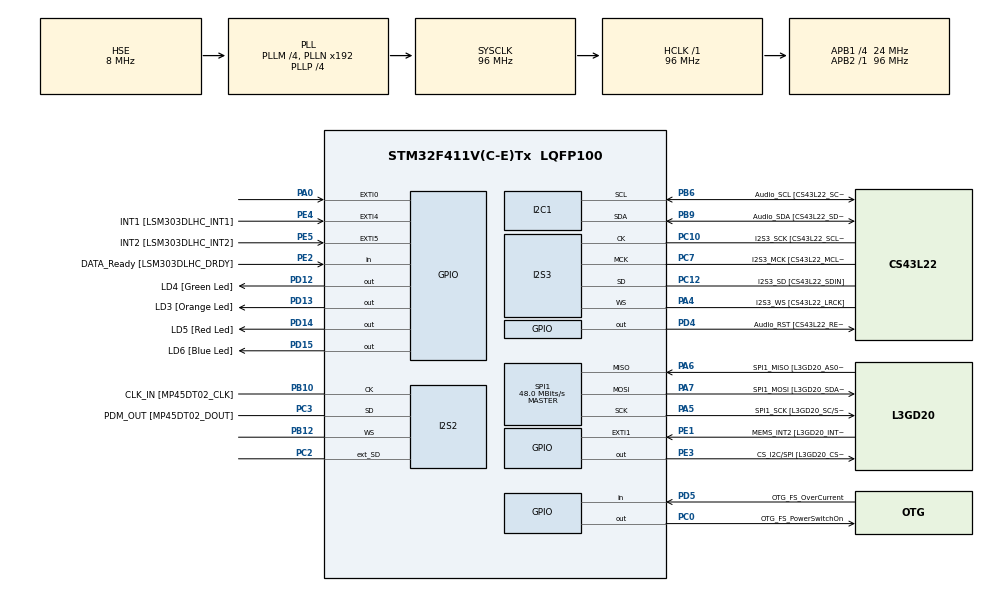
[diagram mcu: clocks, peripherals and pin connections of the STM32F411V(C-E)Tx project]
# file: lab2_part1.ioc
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I2S2.AudioFreq=I2S_AUDIOFREQ_96K
I2S2.ErrorAudioFreq=0.15 %
I2S2.FullDuplexMode=I2S_FULLDUPLEXMODE_ENABLE
I2S2.Instance=SPI$Index
I2S2.RealAudioFreq=96.153 KHz
I2S2.VirtualMode=I2S_MODE_MASTER
I2S3.AudioFreq=I2S_AUDIOFREQ_96K
I2S3.ErrorAudioFreq=-6.99 %
I2S3.FullDuplexMode=I2S_FULLDUPLEXMODE_DISABLE
I2S3.Instance=SPI$Index
I2S3.RealAudioFreq=89.285 KHz
I2S3.VirtualMode=I2S_MODE_MASTER
Mcu.Family=STM32F4
Mcu.Name=STM32F411V(C-E)Tx
Mcu.Package=LQFP100
NVIC.PriorityGroup=NVIC_PRIORITYGROUP_0
PA0-WKUP.GPIO_ModeDefaultEXTI=GPIO_MODE_EVT_RISING
PA0-WKUP.Signal=GPXTI0
PA10.GPIO_Label=OTG_FS_ID
PA10.Signal=USB_OTG_FS_ID
PA11.GPIO_Label=OTG_FS_DM
PA11.Signal=USB_OTG_FS_DM
PA12.GPIO_Label=OTG_FS_DP
PA12.Signal=USB_OTG_FS_DP
PA13.GPIO_Label=SWDIO
PA13.Mode=Serial_Wire
PA13.Signal=SYS_JTMS-SWDIO
PA14.GPIO_Label=SWCLK
PA14.Mode=Serial_Wire
PA14.Signal=SYS_JTCK-SWCLK
PA4.GPIO_Label=I2S3_WS [CS43L22_LRCK]
PA4.GPIO_Mode=GPIO_MODE_AF_PP
PA4.GPIO_PuPd=GPIO_NOPULL
PA4.GPIO_Speed=GPIO_SPEED_FREQ_LOW
PA4.Mode=Half_Duplex_Master
PA4.Signal=I2S3_WS
PA5.GPIO_Label=SPI1_SCK [L3GD20_SC/SPC]
PA5.Mode=Full_Duplex_Master
PA5.Signal=SPI1_SCK
PA6.GPIO_Label=SPI1_MISO [L3GD20_AS0/SDO]
PA6.Mode=Full_Duplex_Master
PA6.Signal=SPI1_MISO
PA7.GPIO_Label=SPI1_MOSI [L3GD20_SDA/SDI/SDO]
PA7.Mode=Full_Duplex_Master
PA7.Signal=SPI1_MOSI
PA9.GPIO_Label=VBUS_FS
PA9.Signal=USB_OTG_FS_VBUS
PB10.GPIO_Label=CLK_IN [MP45DT02_CLK]
PB10.Mode=Full_Duplex_Master
PB10.Signal=I2S2_CK
PB12.Mode=Full_Duplex_Master
PB12.Signal=I2S2_WS
PB3.GPIO_Label=SWO
PB3.Signal=SYS_JTDO-SWO
PB6.GPIO_Label=Audio_SCL [CS43L22_SCL]
PB6.GPIO_Mode=GPIO_MODE_AF_OD
PB6.GPIO_Pu=GPIO_PULLUP
PB6.GPIO_PuPd=GPIO_NOPULL
PB6.GPIO_Speed=GPIO_SPEED_FREQ_LOW
PB6.Mode=I2C
PB6.Signal=I2C1_SCL
PB9.GPIO_Label=Audio_SDA [CS43L22_SDA]
PB9.GPIO_Mode=GPIO_MODE_AF_OD
PB9.GPIO_Pu=GPIO_PULLUP
PB9.GPIO_PuPd=GPIO_NOPULL
PB9.GPIO_Speed=GPIO_SPEED_FREQ_LOW
PB9.Mode=I2C
PB9.Signal=I2C1_SDA
PC0.GPIO_Label=OTG_FS_PowerSwitchOn
PC0.PinState=GPIO_PIN_SET
PC0.Signal=GPIO_Output
PC10.GPIO_Label=I2S3_SCK [CS43L22_SCLK]
PC10.GPIO_Mode=GPIO_MODE_AF_PP
PC10.GPIO_PuPd=GPIO_NOPULL
PC10.GPIO_Speed=GPIO_SPEED_FREQ_LOW
PC10.Mode=Half_Duplex_Master
PC10.Signal=I2S3_CK
PC12.GPIO_Label=I2S3_SD [CS43L22_SDIN]
PC12.GPIO_Mode=GPIO_MODE_AF_PP
PC12.GPIO_PuPd=GPIO_NOPULL
PC12.GPIO_Speed=GPIO_SPEED_FREQ_LOW
PC12.Mode=Half_Duplex_Master
PC12.Signal=I2S3_SD
PC14-OSC32_IN.GPIO_Label=PC14-OSC32_IN
PC14-OSC32_IN.Mode=LSE-External-Oscillator
PC14-OSC32_IN.Signal=RCC_OSC32_IN
PC15-OSC32_OUT.GPIO_Label=PC15-OSC32_OUT
PC15-OSC32_OUT.Mode=LSE-External-Oscillator
PC15-OSC32_OUT.Signal=RCC_OSC32_OUT
PC2.Mode=Full_Duplex_Master
PC2.Signal=I2S2_ext_SD
PC3.GPIO_Label=PDM_OUT [MP45DT02_DOUT]
PC3.Mode=Full_Duplex_Master
PC3.Signal=I2S2_SD
PC7.GPIO_Label=I2S3_MCK [CS43L22_MCLK]
PC7.GPIO_Mode=GPIO_MODE_AF_PP
PC7.GPIO_PuPd=GPIO_NOPULL
PC7.GPIO_Speed=GPIO_SPEED_FREQ_LOW
PC7.Mode=Master_Clock_Activated
PC7.Signal=I2S3_MCK
PD12.GPIO_Label=LD4 [Green Led]
PD12.GPIO_PuPd=GPIO_NOPULL
PD12.GPIO_Speed=GPIO_SPEED_FREQ_LOW
PD12.Signal=GPIO_Output
PD13.GPIO_Label=LD3 [Orange Led]
PD13.GPIO_PuPd=GPIO_NOPULL
PD13.GPIO_Speed=GPIO_SPEED_FREQ_LOW
PD13.Signal=GPIO_Output
PD14.GPIO_Label=LD5 [Red Led]
PD14.GPIO_PuPd=GPIO_NOPULL
PD14.GPIO_Speed=GPIO_SPEED_FREQ_LOW
PD14.Signal=GPIO_Output
PD15.GPIO_Label=LD6 [Blue Led]
PD15.GPIO_PuPd=GPIO_NOPULL
PD15.GPIO_Speed=GPIO_SPEED_FREQ_LOW
PD15.Signal=GPIO_Output
PD4.GPIO_Label=Audio_RST [CS43L22_RESET]
PD4.Signal=GPIO_Output
PD5.GPIO_Label=OTG_FS_OverCurrent
PD5.Signal=GPIO_Input
PE1.GPIO_Label=MEMS_INT2 [L3GD20_INT2]
PE1.GPIO_ModeDefaultEXTI=GPIO_MODE_EVT_RISING
PE1.Signal=GPXTI1
PE2.GPIO_Label=DATA_Ready [LSM303DLHC_DRDY]
PE2.Signal=GPIO_Input
PE3.GPIO_Label=CS_I2C/SPI [L3GD20_CS_I2C/SPI]
PE3.Signal=GPIO_Output
PE4.GPIO_Label=INT1 [LSM303DLHC_INT1]
PE4.GPIO_ModeDefaultEXTI=GPIO_MODE_EVT_RISING
PE4.Signal=GPXTI4
PE5.GPIO_Label=INT2 [LSM303DLHC_INT2]
PE5.GPIO_ModeDefaultEXTI=GPIO_MODE_EVT_RISING
PE5.Signal=GPXTI5
PH0\ -\ OSC_IN.GPIO_Label=PH0-OSC_IN
PH0\ -\ OSC_IN.Mode=HSE-External-Oscillator
PH0\ -\ OSC_IN.Signal=RCC_OSC_IN
PH1\ -\ OSC_OUT.GPIO_Label=PH1-OSC_OUT
PH1\ -\ OSC_OUT.Mode=HSE-External-Oscillator
PH1\ -\ OSC_OUT.Signal=RCC_OSC_OUT
ProjectManager.HeapSize=0x200
ProjectManager.StackSize=0x400
ProjectManager.TargetToolchain=STM32CubeIDE
RCC.48MHZClocksFreq_Value=48000000
RCC.AHBFreq_Value=96000000
RCC.APB1CLKDivider=RCC_HCLK_DIV4
RCC.APB1Freq_Value=24000000
RCC.APB1TimFreq_Value=48000000
RCC.APB2Freq_Value=96000000
RCC.APB2TimFreq_Value=96000000
RCC.CortexFreq_Value=96000000
RCC.HCLKFreq_Value=96000000
RCC.HSE_VALUE=8000000
RCC.HSI_VALUE=16000000
RCC.PLLI2SM=5
RCC.PLLI2SN=200
RCC.PLLM=4
RCC.PLLP=RCC_PLLP_DIV4
RCC.PLLQ=8
RCC.PLLSourceVirtual=RCC_PLLSOURCE_HSE
RCC.SYSCLKFreq_VALUE=96000000
RCC.SYSCLKSource=RCC_SYSCLKSOURCE_PLLCLK
RCC.VCOOutputFreq_Value=384000000
SPI1.BaudRatePrescaler=SPI_BAUDRATEPRESCALER_2
SPI1.CalculateBaudRate=48.0 MBits/s
SPI1.Direction=SPI_DIRECTION_2LINES
SPI1.Mode=SPI_MODE_MASTER
SPI1.VirtualType=VM_MASTER
board=STM32F411E-DISCO

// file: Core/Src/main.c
/* USER CODE BEGIN Header */
/**
  ******************************************************************************
  * @file           : main.c
  * @brief          : Main program body
  ******************************************************************************
  * @attention
  *
  * Copyright (c) 2025 STMicroelectronics.
  * All rights reserved.
  *
  * This software is licensed under terms that can be found in the LICENSE file
  * in the root directory of this software component.
  * If no LICENSE file comes with this software, it is provided AS-IS.
  *
  ******************************************************************************
  */
/* USER CODE END Header */
#include "main.h"

/* USER CODE BEGIN Includes */
#include "filter.h"
/* USER CODE END Includes */

/* USER CODE BEGIN PD */
#define ITM_Port32(n) (*((volatile unsigned long *)(0xE0000000+4*n)))
#define FILTER_MODE 1
/* USER CODE END PD */

I2C_HandleTypeDef hi2c1;

I2S_HandleTypeDef hi2s2;
I2S_HandleTypeDef hi2s3;

SPI_HandleTypeDef hspi1;

void SystemClock_Config(void);
void PeriphCommonClock_Config(void);
static void MX_GPIO_Init(void);
static void MX_I2C1_Init(void);
static void MX_I2S2_Init(void);
static void MX_I2S3_Init(void);
static void MX_SPI1_Init(void);

int main(void)
{

  /* MCU Configuration--------------------------------------------------------*/

  /* Reset of all peripherals, Initializes the Flash interface and the Systick. */
  HAL_Init();

  /* Configure the system clock */
  SystemClock_Config();

  /* Configure the peripherals common clocks */
  PeriphCommonClock_Config();

  /* Initialize all configured peripherals */
  MX_GPIO_Init();
  MX_I2C1_Init();
  MX_I2S2_Init();
  MX_I2S3_Init();
  MX_SPI1_Init();

  /* Infinite loop */
  /* USER CODE BEGIN WHILE */
  while (1)
  {
	  FilterInit();
	  ITM_Port32(31) = 1;
	  #ifdef FILTER_MODE
	    for (int i = 0; i < NUMBER_OF_SAMPLES; i++){
	      newdata_int16[i] = FixedFilterGet(*(data_int16 + i));
	    }
	  #else
	    for (int i = 0; i < NUMBER_OF_SAMPLES; i++){
	      newdata[i] = FloatFilterGet(*(data + i));
	    }
	  #endif
	  ITM_Port32(31) = 2;
	  __NOP();
    /* USER CODE END WHILE */

  }
}

void SystemClock_Config(void)
{
  RCC_OscInitTypeDef RCC_OscInitStruct = {0};
  RCC_ClkInitTypeDef RCC_ClkInitStruct = {0};

  /** Configure the main internal regulator output voltage
  */
  __HAL_RCC_PWR_CLK_ENABLE();
  __HAL_PWR_VOLTAGESCALING_CONFIG(PWR_REGULATOR_VOLTAGE_SCALE1);

  /** Initializes the RCC Oscillators according to the specified parameters
  * in the RCC_OscInitTypeDef structure.
  */
  RCC_OscInitStruct.OscillatorType = RCC_OSCILLATORTYPE_HSE;
  RCC_OscInitStruct.HSEState = RCC_HSE_ON;
  RCC_OscInitStruct.PLL.PLLState = RCC_PLL_ON;
  RCC_OscInitStruct.PLL.PLLSource = RCC_PLLSOURCE_HSE;
  RCC_OscInitStruct.PLL.PLLM = 4;
  RCC_OscInitStruct.PLL.PLLN = 192;
  RCC_OscInitStruct.PLL.PLLP = RCC_PLLP_DIV4;
  RCC_OscInitStruct.PLL.PLLQ = 8;
  if (HAL_RCC_OscConfig(&RCC_OscInitStruct) != HAL_OK)
  {
    Error_Handler();
  }

  /** Initializes the CPU, AHB and APB buses clocks
  */
  RCC_ClkInitStruct.ClockType = RCC_CLOCKTYPE_HCLK|RCC_CLOCKTYPE_SYSCLK
                              |RCC_CLOCKTYPE_PCLK1|RCC_CLOCKTYPE_PCLK2;
  RCC_ClkInitStruct.SYSCLKSource = RCC_SYSCLKSOURCE_PLLCLK;
  RCC_ClkInitStruct.AHBCLKDivider = RCC_SYSCLK_DIV1;
  RCC_ClkInitStruct.APB1CLKDivider = RCC_HCLK_DIV4;
  RCC_ClkInitStruct.APB2CLKDivider = RCC_HCLK_DIV1;

  if (HAL_RCC_ClockConfig(&RCC_ClkInitStruct, FLASH_LATENCY_3) != HAL_OK)
  {
    Error_Handler();
  }
}

void PeriphCommonClock_Config(void)
{
  RCC_PeriphCLKInitTypeDef PeriphClkInitStruct = {0};

  /** Initializes the peripherals clock
  */
  PeriphClkInitStruct.PeriphClockSelection = RCC_PERIPHCLK_I2S;
  PeriphClkInitStruct.PLLI2S.PLLI2SN = 200;
  PeriphClkInitStruct.PLLI2S.PLLI2SM = 5;
  PeriphClkInitStruct.PLLI2S.PLLI2SR = 2;
  if (HAL_RCCEx_PeriphCLKConfig(&PeriphClkInitStruct) != HAL_OK)
  {
    Error_Handler();
  }
}

static void MX_I2C1_Init(void)
{

  hi2c1.Instance = I2C1;
  hi2c1.Init.ClockSpeed = 100000;
  hi2c1.Init.DutyCycle = I2C_DUTYCYCLE_2;
  hi2c1.Init.OwnAddress1 = 0;
  hi2c1.Init.AddressingMode = I2C_ADDRESSINGMODE_7BIT;
  hi2c1.Init.DualAddressMode = I2C_DUALADDRESS_DISABLE;
  hi2c1.Init.OwnAddress2 = 0;
  hi2c1.Init.GeneralCallMode = I2C_GENERALCALL_DISABLE;
  hi2c1.Init.NoStretchMode = I2C_NOSTRETCH_DISABLE;
  if (HAL_I2C_Init(&hi2c1) != HAL_OK)
  {
    Error_Handler();
  }

}

static void MX_I2S2_Init(void)
{

  hi2s2.Instance = SPI2;
  hi2s2.Init.Mode = I2S_MODE_MASTER_TX;
  hi2s2.Init.Standard = I2S_STANDARD_PHILIPS;
  hi2s2.Init.DataFormat = I2S_DATAFORMAT_16B;
  hi2s2.Init.MCLKOutput = I2S_MCLKOUTPUT_DISABLE;
  hi2s2.Init.AudioFreq = I2S_AUDIOFREQ_96K;
  hi2s2.Init.CPOL = I2S_CPOL_LOW;
  hi2s2.Init.ClockSource = I2S_CLOCK_PLL;
  hi2s2.Init.FullDuplexMode = I2S_FULLDUPLEXMODE_ENABLE;
  if (HAL_I2S_Init(&hi2s2) != HAL_OK)
  {
    Error_Handler();
  }

}

static void MX_I2S3_Init(void)
{

  hi2s3.Instance = SPI3;
  hi2s3.Init.Mode = I2S_MODE_MASTER_TX;
  hi2s3.Init.Standard = I2S_STANDARD_PHILIPS;
  hi2s3.Init.DataFormat = I2S_DATAFORMAT_16B;
  hi2s3.Init.MCLKOutput = I2S_MCLKOUTPUT_ENABLE;
  hi2s3.Init.AudioFreq = I2S_AUDIOFREQ_96K;
  hi2s3.Init.CPOL = I2S_CPOL_LOW;
  hi2s3.Init.ClockSource = I2S_CLOCK_PLL;
  hi2s3.Init.FullDuplexMode = I2S_FULLDUPLEXMODE_DISABLE;
  if (HAL_I2S_Init(&hi2s3) != HAL_OK)
  {
    Error_Handler();
  }

}

static void MX_SPI1_Init(void)
{

  /* SPI1 parameter configuration*/
  hspi1.Instance = SPI1;
  hspi1.Init.Mode = SPI_MODE_MASTER;
  hspi1.Init.Direction = SPI_DIRECTION_2LINES;
  hspi1.Init.DataSize = SPI_DATASIZE_8BIT;
  hspi1.Init.CLKPolarity = SPI_POLARITY_LOW;
  hspi1.Init.CLKPhase = SPI_PHASE_1EDGE;
  hspi1.Init.NSS = SPI_NSS_SOFT;
  hspi1.Init.BaudRatePrescaler = SPI_BAUDRATEPRESCALER_2;
  hspi1.Init.FirstBit = SPI_FIRSTBIT_MSB;
  hspi1.Init.TIMode = SPI_TIMODE_DISABLE;
  hspi1.Init.CRCCalculation = SPI_CRCCALCULATION_DISABLE;
  hspi1.Init.CRCPolynomial = 10;
  if (HAL_SPI_Init(&hspi1) != HAL_OK)
  {
    Error_Handler();
  }

}

static void MX_GPIO_Init(void)
{
  GPIO_InitTypeDef GPIO_InitStruct = {0};

  /* GPIO Ports Clock Enable */
  __HAL_RCC_GPIOE_CLK_ENABLE();
  __HAL_RCC_GPIOC_CLK_ENABLE();
  __HAL_RCC_GPIOH_CLK_ENABLE();
  __HAL_RCC_GPIOA_CLK_ENABLE();
  __HAL_RCC_GPIOB_CLK_ENABLE();
  __HAL_RCC_GPIOD_CLK_ENABLE();

  /*Configure GPIO pin Output Level */
  HAL_GPIO_WritePin(CS_I2C_SPI_GPIO_Port, CS_I2C_SPI_Pin, GPIO_PIN_RESET);

  /*Configure GPIO pin Output Level */
  HAL_GPIO_WritePin(OTG_FS_PowerSwitchOn_GPIO_Port, OTG_FS_PowerSwitchOn_Pin, GPIO_PIN_SET);

  /*Configure GPIO pin Output Level */
  HAL_GPIO_WritePin(GPIOD, LD4_Pin|LD3_Pin|LD5_Pin|LD6_Pin
                          |Audio_RST_Pin, GPIO_PIN_RESET);

  /*Configure GPIO pin : DATA_Ready_Pin */
  GPIO_InitStruct.Pin = DATA_Ready_Pin;
  GPIO_InitStruct.Mode = GPIO_MODE_INPUT;
  GPIO_InitStruct.Pull = GPIO_NOPULL;
  HAL_GPIO_Init(DATA_Ready_GPIO_Port, &GPIO_InitStruct);

  /*Configure GPIO pin : CS_I2C_SPI_Pin */
  GPIO_InitStruct.Pin = CS_I2C_SPI_Pin;
  GPIO_InitStruct.Mode = GPIO_MODE_OUTPUT_PP;
  GPIO_InitStruct.Pull = GPIO_NOPULL;
  GPIO_InitStruct.Speed = GPIO_SPEED_FREQ_LOW;
  HAL_GPIO_Init(CS_I2C_SPI_GPIO_Port, &GPIO_InitStruct);

  /*Configure GPIO pins : INT1_Pin INT2_Pin MEMS_INT2_Pin */
  GPIO_InitStruct.Pin = INT1_Pin|INT2_Pin|MEMS_INT2_Pin;
  GPIO_InitStruct.Mode = GPIO_MODE_EVT_RISING;
  GPIO_InitStruct.Pull = GPIO_NOPULL;
  HAL_GPIO_Init(GPIOE, &GPIO_InitStruct);

  /*Configure GPIO pin : OTG_FS_PowerSwitchOn_Pin */
  GPIO_InitStruct.Pin = OTG_FS_PowerSwitchOn_Pin;
  GPIO_InitStruct.Mode = GPIO_MODE_OUTPUT_PP;
  GPIO_InitStruct.Pull = GPIO_NOPULL;
  GPIO_InitStruct.Speed = GPIO_SPEED_FREQ_LOW;
  HAL_GPIO_Init(OTG_FS_PowerSwitchOn_GPIO_Port, &GPIO_InitStruct);

  /*Configure GPIO pin : PA0 */
  GPIO_InitStruct.Pin = GPIO_PIN_0;
  GPIO_InitStruct.Mode = GPIO_MODE_EVT_RISING;
  GPIO_InitStruct.Pull = GPIO_NOPULL;
  HAL_GPIO_Init(GPIOA, &GPIO_InitStruct);

  /*Configure GPIO pins : LD4_Pin LD3_Pin LD5_Pin LD6_Pin
                           Audio_RST_Pin */
  GPIO_InitStruct.Pin = LD4_Pin|LD3_Pin|LD5_Pin|LD6_Pin
                          |Audio_RST_Pin;
  GPIO_InitStruct.Mode = GPIO_MODE_OUTPUT_PP;
  GPIO_InitStruct.Pull = GPIO_NOPULL;
  GPIO_InitStruct.Speed = GPIO_SPEED_FREQ_LOW;
  HAL_GPIO_Init(GPIOD, &GPIO_InitStruct);

  /*Configure GPIO pin : VBUS_FS_Pin */
  GPIO_InitStruct.Pin = VBUS_FS_Pin;
  GPIO_InitStruct.Mode = GPIO_MODE_INPUT;
  GPIO_InitStruct.Pull = GPIO_NOPULL;
  HAL_GPIO_Init(VBUS_FS_GPIO_Port, &GPIO_InitStruct);

  /*Configure GPIO pins : OTG_FS_ID_Pin OTG_FS_DM_Pin OTG_FS_DP_Pin */
  GPIO_InitStruct.Pin = OTG_FS_ID_Pin|OTG_FS_DM_Pin|OTG_FS_DP_Pin;
  GPIO_InitStruct.Mode = GPIO_MODE_AF_PP;
  GPIO_InitStruct.Pull = GPIO_NOPULL;
  GPIO_InitStruct.Speed = GPIO_SPEED_FREQ_VERY_HIGH;
  GPIO_InitStruct.Alternate = GPIO_AF10_OTG_FS;
  HAL_GPIO_Init(GPIOA, &GPIO_InitStruct);

  /*Configure GPIO pin : OTG_FS_OverCurrent_Pin */
  GPIO_InitStruct.Pin = OTG_FS_OverCurrent_Pin;
  GPIO_InitStruct.Mode = GPIO_MODE_INPUT;
  GPIO_InitStruct.Pull = GPIO_NOPULL;
  HAL_GPIO_Init(OTG_FS_OverCurrent_GPIO_Port, &GPIO_InitStruct);

}

/* USER CODE BEGIN 4 */
int _write(int file, char* ptr, int len) {
	int DataIdx;
	for (DataIdx = 0; DataIdx < len; DataIdx++) {
		ITM_SendChar(*ptr++);
	}
	return len;
}
/* USER CODE END 4 */

void Error_Handler(void)
{
  __disable_irq();
  while (1)
  {
  }
}
